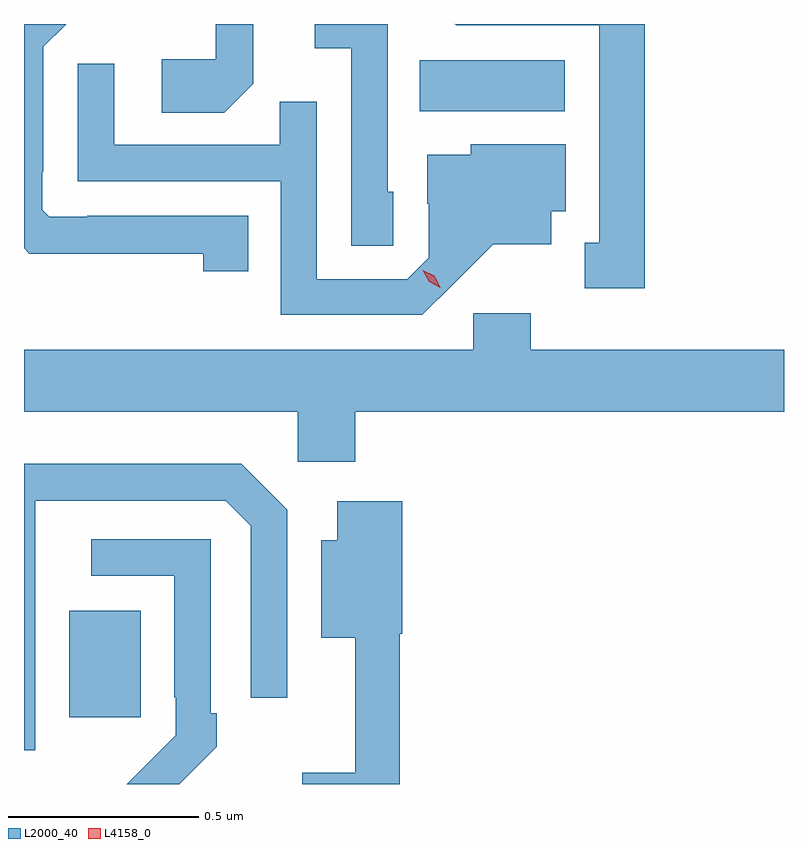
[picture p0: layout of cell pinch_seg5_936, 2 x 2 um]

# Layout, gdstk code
import gdstk
lib = gdstk.Library(unit=1e-6, precision=1e-09)
def R(c, l, rs):  # rectangles x0, y0, x1, y1
    for r in rs: c.add(gdstk.rectangle(r[:2], r[2:], *l))
def P(c, l, *ps):  # polygons
    for p in ps: c.add(gdstk.Polygon(p, *l))
L2000_40 = (2000, 40)
L4158_0 = (4158, 0)

pinch_seg5_936 = lib.new_cell('pinch_seg5_936')
R(pinch_seg5_936, L2000_40, [(733.403,881.265,733.591,881.545), (734.326,882.86,734.707,882.994)])
P(pinch_seg5_936, L2000_40, [(733.874,882.585),(733.45,882.585),(733.45,882.582),(733.35,882.582),(733.332,882.6),(733.332,882.7),(733.335,882.7),(733.335,883.029),(733.395,883.089),(733.284,883.089),(733.284,882.499),(733.298,882.485),(733.399,882.485),(733.399,882.484),(733.756,882.484),(733.756,882.438),(733.874,882.438)],
  [(733.653,883.089),(733.518,883.089),(733.518,883.088),(733.652,883.088)],
  [(734.256,882.648),(734.241,882.648),(734.241,883.089),(734.049,883.089),(734.049,883.025),(734.145,883.025),(734.145,882.505),(734.256,882.505)],
  [(733.887,882.932),(733.887,883.089),(733.788,883.089),(733.788,882.996),(733.647,882.996),(733.647,882.856),(733.811,882.856)],
  [(734.917,883.089),(734.418,883.089),(734.421,883.086),(734.798,883.086),(734.798,882.513),(734.759,882.513),(734.759,882.393),(734.917,882.393)],
  [(734.416,882.407),(734.519,882.509),(734.671,882.509),(734.671,882.596),(734.71,882.596),(734.71,882.772),(734.46,882.772),(734.46,882.745),(734.345,882.745),(734.345,882.616),(734.349,882.616),(734.349,882.474),(734.292,882.417),(734.055,882.417),(734.055,882.884),(733.957,882.884),(733.957,882.771),(733.521,882.771),(733.521,882.985),(733.425,882.985),(733.425,882.675),(733.959,882.675),(733.959,882.324),(734.332,882.324)],
  [(734.156,882.068),(735.284,882.068),(735.284,882.232),(734.618,882.232),(734.618,882.328),(734.466,882.328),(734.466,882.232),(733.284,882.232),(733.284,882.068),(734.004,882.068),(734.004,881.937),(734.156,881.937)],
  [(733.314,881.835),(733.815,881.835),(733.881,881.769),(733.881,881.316),(733.977,881.316),(733.977,881.811),(733.856,881.932),(733.284,881.932),(733.284,881.178),(733.314,881.178)],
  [(734.273,881.484),(734.279,881.484),(734.279,881.833),(734.108,881.833),(734.108,881.731),(734.066,881.731),(734.066,881.474),(734.156,881.474),(734.156,881.119),(734.016,881.119),(734.016,881.089),(734.273,881.089)],
  [(733.791,881.187),(733.791,881.275),(733.776,881.275),(733.776,881.733),(733.461,881.733),(733.461,881.637),(733.68,881.637),(733.68,881.317),(733.683,881.317),(733.683,881.217),(733.555,881.089),(733.693,881.089)])
P(pinch_seg5_936, L4158_0, [(734.38,882.395),(734.35,882.411),(734.333,882.441),(734.333,882.441),(734.333,882.441),(734.364,882.426),(734.38,882.396),(734.38,882.395)])

lib.write_gds('pinch_seg5_936.gds')
